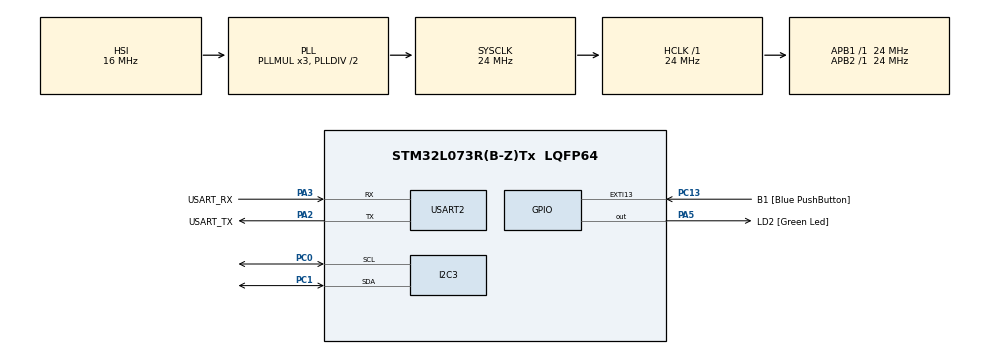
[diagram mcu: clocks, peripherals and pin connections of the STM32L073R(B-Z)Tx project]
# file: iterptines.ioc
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I2C3.Timing=0x00805C87
Mcu.Family=STM32L0
Mcu.Name=STM32L073R(B-Z)Tx
Mcu.Package=LQFP64
NVIC.TIM6_DAC_IRQn=true\:0\:0\:false\:false\:true\:true\:true\:true
PA13.GPIO_Label=TMS
PA13.Mode=Serial_Wire
PA13.Signal=SYS_SWDIO
PA14.GPIO_Label=TCK
PA14.Mode=Serial_Wire
PA14.Signal=SYS_SWCLK
PA2.GPIO_Label=USART_TX
PA2.Mode=Asynchronous
PA2.Signal=USART2_TX
PA3.GPIO_Label=USART_RX
PA3.Mode=Asynchronous
PA3.Signal=USART2_RX
PA5.GPIO_Label=LD2 [Green Led]
PA5.Signal=GPIO_Output
PC0.Mode=I2C
PC0.Signal=I2C3_SCL
PC1.Mode=I2C
PC1.Signal=I2C3_SDA
PC13.GPIO_Label=B1 [Blue PushButton]
PC13.GPIO_ModeDefaultEXTI=GPIO_MODE_IT_FALLING
PC13.Signal=GPXTI13
PC14-OSC32_IN.Mode=LSE-External-Oscillator
PC14-OSC32_IN.Signal=RCC_OSC32_IN
PC15-OSC32_OUT.Mode=LSE-External-Oscillator
PC15-OSC32_OUT.Signal=RCC_OSC32_OUT
PH0-OSC_IN.GPIO_Label=MCO
PH0-OSC_IN.Mode=HSE-External-Clock-Source
PH0-OSC_IN.Signal=RCC_OSC_IN
ProjectManager.HeapSize=0x200
ProjectManager.StackSize=0x400
ProjectManager.TargetToolchain=MDK-ARM V5.32
RCC.ADCFreq_Value=16000000
RCC.AHBFreq_Value=24000000
RCC.APB1Freq_Value=24000000
RCC.APB1TimFreq_Value=24000000
RCC.APB2Freq_Value=24000000
RCC.APB2TimFreq_Value=24000000
RCC.HCLKFreq_Value=24000000
RCC.HSE_VALUE=8000000
RCC.HSI16_VALUE=16000000
RCC.HSI48_VALUE=48000000
RCC.HSI_VALUE=16000000
RCC.MSI_VALUE=2097000
RCC.SYSCLKFreq_VALUE=24000000
RCC.SYSCLKSource=RCC_SYSCLKSOURCE_PLLCLK
RCC.VCOOutputFreq_Value=48000000
TIM6.Period=2400
TIM6.Prescaler=1000
USART2.VirtualMode-Asynchronous=VM_ASYNC
VP_TIM6_VS_ClockSourceINT.Mode=Enable_Timer
board=NUCLEO-L073RZ

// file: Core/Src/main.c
/* USER CODE BEGIN Header */
/**
  ******************************************************************************
  * @file           : main.c
  * @brief          : Main program body
  ******************************************************************************
  * @attention
  *
  * Copyright (c) 2026 STMicroelectronics.
  * All rights reserved.
  *
  * This software is licensed under terms that can be found in the LICENSE file
  * in the root directory of this software component.
  * If no LICENSE file comes with this software, it is provided AS-IS.
  *
  ******************************************************************************
  */
/* USER CODE END Header */
#include "main.h"
#include "ssd1306.h"
#include "fonts.h"

/* USER CODE BEGIN Includes */
#include <stdio.h>
#include <string.h>
#include <math.h>
/* USER CODE END Includes */

I2C_HandleTypeDef hi2c3;

TIM_HandleTypeDef htim6;

UART_HandleTypeDef huart2;

void SystemClock_Config(void);
static void MX_GPIO_Init(void);
static void MX_I2C3_Init(void);
static void MX_USART2_UART_Init(void);
static void MX_TIM6_Init(void);

/* USER CODE BEGIN 0 */
volatile uint8_t siusti_uart = 0;
volatile uint8_t atnaujinti_oled = 0;
volatile uint8_t cnt_uart = 0;
volatile uint8_t cnt_oled = 0;

#define MPU6050_ADDR         (0x68 << 1)
#define MPU6050_PWR_MGMT_1   0x6B
#define MPU6050_ACCEL_XOUT_H 0x3B
#define VIDURKIO_DYDIS 10

int16_t ax = 0;
int16_t ay = 0;
int16_t az = 0;
char msg[100];

float angle = 0.0f;
float vidurkis = 0.0f;

float kampu_masyvas[VIDURKIO_DYDIS] = {0};

uint8_t masyvo_indeksas = 0;
uint8_t masyvas_pilnas = 0;

char oled_msg[30];

void MPU6050_Init(void)
{
    uint8_t data = 0;
    HAL_I2C_Mem_Write(&hi2c3, MPU6050_ADDR, MPU6050_PWR_MGMT_1, 1, &data, 1, HAL_MAX_DELAY);
}

void MPU6050_Read_Accel(int16_t *ax, int16_t *ay, int16_t *az)
{
    uint8_t rec_data[6];

    HAL_I2C_Mem_Read(&hi2c3, MPU6050_ADDR, MPU6050_ACCEL_XOUT_H, 1, rec_data, 6, HAL_MAX_DELAY);

    *ax = (int16_t)(rec_data[0] << 8 | rec_data[1]);
    *ay = (int16_t)(rec_data[2] << 8 | rec_data[3]);
    *az = (int16_t)(rec_data[4] << 8 | rec_data[5]);
}

void PridetiKampaIVidurki(float naujas_kampas)
{
    kampu_masyvas[masyvo_indeksas] = naujas_kampas;
    masyvo_indeksas++;

    if (masyvo_indeksas >= VIDURKIO_DYDIS)
    {
        masyvo_indeksas = 0;
        masyvas_pilnas = 1;
    }
}

float GautiVidurki(void)
{
    float suma = 0.0f;
    uint8_t kiekis;
    uint8_t i;

    if (masyvas_pilnas)
        kiekis = VIDURKIO_DYDIS;
    else
        kiekis = masyvo_indeksas;

    if (kiekis == 0)
        return 0.0f;

    for (i = 0; i < kiekis; i++)
    {
        suma += kampu_masyvas[i];
    }

    return suma / kiekis;
}
/* USER CODE END 0 */

int main(void)
{

  /* MCU Configuration--------------------------------------------------------*/

  /* Reset of all peripherals, Initializes the Flash interface and the Systick. */
  HAL_Init();

  /* Configure the system clock */
  SystemClock_Config();

  /* Initialize all configured peripherals */
  MX_GPIO_Init();
  MX_I2C3_Init();
  MX_USART2_UART_Init();
  MX_TIM6_Init();
  /* USER CODE BEGIN 2 */

	if (HAL_TIM_Base_Start_IT(&htim6) != HAL_OK)
{
    Error_Handler();
}

ssd1306_Init(&hi2c3);
ssd1306_Fill(Black);
ssd1306_SetCursor(0, 0);
ssd1306_WriteString("OLED OK", Font_7x10, White);
ssd1306_UpdateScreen(&hi2c3);

MPU6050_Init();
HAL_Delay(100);
  /* USER CODE END 2 */

  /* Infinite loop */
  /* USER CODE BEGIN WHILE */
  while (1)
  {
		MPU6050_Read_Accel(&ax, &ay, &az);

    angle = atan2((float)ay, (float)ax) * 180.0f / 3.14159f;
    if (angle < 0)
        angle = fabs(angle);

		PridetiKampaIVidurki(angle);
		vidurkis = GautiVidurki();

		if (siusti_uart)
    {
        siusti_uart = 0;
        sprintf(msg, "Kampo vid. = %.2f\r\n", vidurkis);
        HAL_UART_Transmit(&huart2, (uint8_t*)msg, strlen(msg), 100);
    }

    if (atnaujinti_oled)
    {
        atnaujinti_oled = 0;

        ssd1306_Fill(Black);
        ssd1306_SetCursor(0, 0);
        ssd1306_WriteString("Kampo vid.:", Font_11x18, White);

        sprintf(oled_msg, "%.2f", vidurkis);
        ssd1306_SetCursor(0, 24);
        ssd1306_WriteString(oled_msg, Font_11x18, White);

        ssd1306_UpdateScreen(&hi2c3);
    }

    /* USER CODE END WHILE */

  }
}

void SystemClock_Config(void)
{
  RCC_OscInitTypeDef RCC_OscInitStruct = {0};
  RCC_ClkInitTypeDef RCC_ClkInitStruct = {0};
  RCC_PeriphCLKInitTypeDef PeriphClkInit = {0};

  /** Configure the main internal regulator output voltage
  */
  __HAL_PWR_VOLTAGESCALING_CONFIG(PWR_REGULATOR_VOLTAGE_SCALE1);

  /** Initializes the RCC Oscillators according to the specified parameters
  * in the RCC_OscInitTypeDef structure.
  */
  RCC_OscInitStruct.OscillatorType = RCC_OSCILLATORTYPE_HSI;
  RCC_OscInitStruct.HSIState = RCC_HSI_ON;
  RCC_OscInitStruct.HSICalibrationValue = RCC_HSICALIBRATION_DEFAULT;
  RCC_OscInitStruct.PLL.PLLState = RCC_PLL_ON;
  RCC_OscInitStruct.PLL.PLLSource = RCC_PLLSOURCE_HSI;
  RCC_OscInitStruct.PLL.PLLMUL = RCC_PLLMUL_3;
  RCC_OscInitStruct.PLL.PLLDIV = RCC_PLLDIV_2;
  if (HAL_RCC_OscConfig(&RCC_OscInitStruct) != HAL_OK)
  {
    Error_Handler();
  }

  /** Initializes the CPU, AHB and APB buses clocks
  */
  RCC_ClkInitStruct.ClockType = RCC_CLOCKTYPE_HCLK|RCC_CLOCKTYPE_SYSCLK
                              |RCC_CLOCKTYPE_PCLK1|RCC_CLOCKTYPE_PCLK2;
  RCC_ClkInitStruct.SYSCLKSource = RCC_SYSCLKSOURCE_PLLCLK;
  RCC_ClkInitStruct.AHBCLKDivider = RCC_SYSCLK_DIV1;
  RCC_ClkInitStruct.APB1CLKDivider = RCC_HCLK_DIV1;
  RCC_ClkInitStruct.APB2CLKDivider = RCC_HCLK_DIV1;

  if (HAL_RCC_ClockConfig(&RCC_ClkInitStruct, FLASH_LATENCY_1) != HAL_OK)
  {
    Error_Handler();
  }
  PeriphClkInit.PeriphClockSelection = RCC_PERIPHCLK_USART2|RCC_PERIPHCLK_I2C3;
  PeriphClkInit.Usart2ClockSelection = RCC_USART2CLKSOURCE_PCLK1;
  PeriphClkInit.I2c3ClockSelection = RCC_I2C3CLKSOURCE_PCLK1;
  if (HAL_RCCEx_PeriphCLKConfig(&PeriphClkInit) != HAL_OK)
  {
    Error_Handler();
  }
}

static void MX_I2C3_Init(void)
{

  hi2c3.Instance = I2C3;
  hi2c3.Init.Timing = 0x00805C87;
  hi2c3.Init.OwnAddress1 = 0;
  hi2c3.Init.AddressingMode = I2C_ADDRESSINGMODE_7BIT;
  hi2c3.Init.DualAddressMode = I2C_DUALADDRESS_DISABLE;
  hi2c3.Init.OwnAddress2 = 0;
  hi2c3.Init.OwnAddress2Masks = I2C_OA2_NOMASK;
  hi2c3.Init.GeneralCallMode = I2C_GENERALCALL_DISABLE;
  hi2c3.Init.NoStretchMode = I2C_NOSTRETCH_DISABLE;
  if (HAL_I2C_Init(&hi2c3) != HAL_OK)
  {
    Error_Handler();
  }

  /** Configure Analogue filter
  */
  if (HAL_I2CEx_ConfigAnalogFilter(&hi2c3, I2C_ANALOGFILTER_ENABLE) != HAL_OK)
  {
    Error_Handler();
  }

  /** Configure Digital filter
  */
  if (HAL_I2CEx_ConfigDigitalFilter(&hi2c3, 0) != HAL_OK)
  {
    Error_Handler();
  }

}

static void MX_TIM6_Init(void)
{

  TIM_MasterConfigTypeDef sMasterConfig = {0};

  htim6.Instance = TIM6;
  htim6.Init.Prescaler = 1000;
  htim6.Init.CounterMode = TIM_COUNTERMODE_UP;
  htim6.Init.Period = 2400;
  htim6.Init.AutoReloadPreload = TIM_AUTORELOAD_PRELOAD_DISABLE;
  if (HAL_TIM_Base_Init(&htim6) != HAL_OK)
  {
    Error_Handler();
  }
  sMasterConfig.MasterOutputTrigger = TIM_TRGO_RESET;
  sMasterConfig.MasterSlaveMode = TIM_MASTERSLAVEMODE_DISABLE;
  if (HAL_TIMEx_MasterConfigSynchronization(&htim6, &sMasterConfig) != HAL_OK)
  {
    Error_Handler();
  }

}

static void MX_USART2_UART_Init(void)
{

  huart2.Instance = USART2;
  huart2.Init.BaudRate = 115200;
  huart2.Init.WordLength = UART_WORDLENGTH_8B;
  huart2.Init.StopBits = UART_STOPBITS_1;
  huart2.Init.Parity = UART_PARITY_NONE;
  huart2.Init.Mode = UART_MODE_TX_RX;
  huart2.Init.HwFlowCtl = UART_HWCONTROL_NONE;
  huart2.Init.OverSampling = UART_OVERSAMPLING_16;
  huart2.Init.OneBitSampling = UART_ONE_BIT_SAMPLE_DISABLE;
  huart2.AdvancedInit.AdvFeatureInit = UART_ADVFEATURE_NO_INIT;
  if (HAL_UART_Init(&huart2) != HAL_OK)
  {
    Error_Handler();
  }

}

static void MX_GPIO_Init(void)
{
  GPIO_InitTypeDef GPIO_InitStruct = {0};

  /* GPIO Ports Clock Enable */
  __HAL_RCC_GPIOC_CLK_ENABLE();
  __HAL_RCC_GPIOH_CLK_ENABLE();
  __HAL_RCC_GPIOA_CLK_ENABLE();

  /*Configure GPIO pin Output Level */
  HAL_GPIO_WritePin(LD2_GPIO_Port, LD2_Pin, GPIO_PIN_RESET);

  /*Configure GPIO pin : B1_Pin */
  GPIO_InitStruct.Pin = B1_Pin;
  GPIO_InitStruct.Mode = GPIO_MODE_IT_FALLING;
  GPIO_InitStruct.Pull = GPIO_NOPULL;
  HAL_GPIO_Init(B1_GPIO_Port, &GPIO_InitStruct);

  /*Configure GPIO pin : LD2_Pin */
  GPIO_InitStruct.Pin = LD2_Pin;
  GPIO_InitStruct.Mode = GPIO_MODE_OUTPUT_PP;
  GPIO_InitStruct.Pull = GPIO_NOPULL;
  GPIO_InitStruct.Speed = GPIO_SPEED_FREQ_LOW;
  HAL_GPIO_Init(LD2_GPIO_Port, &GPIO_InitStruct);

}

/* USER CODE BEGIN 4 */
void HAL_TIM_PeriodElapsedCallback(TIM_HandleTypeDef *htim)
{
    if (htim == &htim6)
    {
        cnt_uart++;
        cnt_oled++;

        if (cnt_uart >= 2)
        {
            siusti_uart = 1;
            cnt_uart = 0;
        }

        if (cnt_oled >= 10)
        {
            atnaujinti_oled = 1;
            cnt_oled = 0;
        }
    }
}

/* USER CODE END 4 */

void Error_Handler(void)
{
  __disable_irq();
  while (1)
  {
}
}
